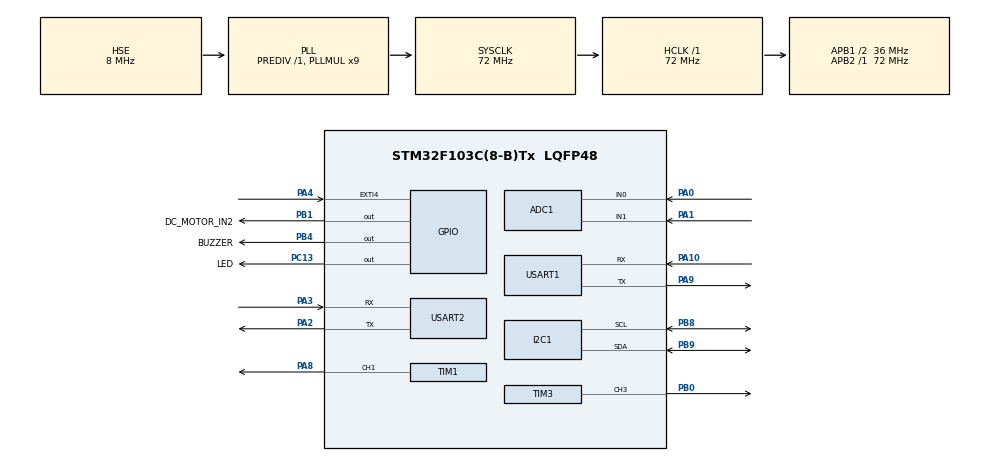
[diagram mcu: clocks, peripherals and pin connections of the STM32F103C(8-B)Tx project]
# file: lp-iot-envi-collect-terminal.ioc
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ADC1.Channel-1\#ChannelRegularConversion=ADC_CHANNEL_0
ADC1.Channel-2\#ChannelRegularConversion=ADC_CHANNEL_1
ADC1.ContinuousConvMode=ENABLE
ADC1.EnableAnalogWatchDog=false
ADC1.EnableInjectedConversion=ENABLE
ADC1.InjNumberOfConversion=0
ADC1.NbrOfConversion=2
ADC1.NbrOfConversionFlag=1
ADC1.Rank-1\#ChannelRegularConversion=1
ADC1.Rank-2\#ChannelRegularConversion=2
ADC1.SamplingTime-1\#ChannelRegularConversion=ADC_SAMPLETIME_239CYCLES_5
ADC1.SamplingTime-2\#ChannelRegularConversion=ADC_SAMPLETIME_239CYCLES_5
ADC1.master=1
Dma.ADC1.0.Direction=DMA_PERIPH_TO_MEMORY
Dma.ADC1.0.Instance=DMA1_Channel1
Dma.ADC1.0.MemDataAlignment=DMA_MDATAALIGN_HALFWORD
Dma.ADC1.0.MemInc=DMA_MINC_ENABLE
Dma.ADC1.0.Mode=DMA_CIRCULAR
Dma.ADC1.0.PeriphDataAlignment=DMA_PDATAALIGN_HALFWORD
Dma.ADC1.0.PeriphInc=DMA_PINC_DISABLE
Dma.ADC1.0.Priority=DMA_PRIORITY_LOW
Dma.Request0=ADC1
Dma.Request1=USART2_RX
Dma.USART2_RX.1.Direction=DMA_PERIPH_TO_MEMORY
Dma.USART2_RX.1.Instance=DMA1_Channel6
Dma.USART2_RX.1.MemDataAlignment=DMA_MDATAALIGN_BYTE
Dma.USART2_RX.1.MemInc=DMA_MINC_ENABLE
Dma.USART2_RX.1.Mode=DMA_CIRCULAR
Dma.USART2_RX.1.PeriphDataAlignment=DMA_PDATAALIGN_BYTE
Dma.USART2_RX.1.PeriphInc=DMA_PINC_DISABLE
Dma.USART2_RX.1.Priority=DMA_PRIORITY_LOW
FREERTOS.Tasks01=defaultTask,24,128,StartDefaultTask,Default,NULL,Dynamic,NULL,NULL
FREERTOS.configTOTAL_HEAP_SIZE=10240
Mcu.Family=STM32F1
Mcu.Name=STM32F103C(8-B)Tx
Mcu.Package=LQFP48
NVIC.DMA1_Channel1_IRQn=true\:5\:0\:false\:false\:true\:true\:false\:true\:true
NVIC.DMA1_Channel6_IRQn=true\:5\:0\:false\:false\:true\:true\:false\:true\:true
NVIC.EXTI4_IRQn=true\:5\:0\:false\:false\:true\:true\:true\:true\:true
NVIC.PriorityGroup=NVIC_PRIORITYGROUP_4
NVIC.TIM2_IRQn=true\:15\:0\:false\:false\:true\:false\:false\:true\:true
NVIC.TimeBase=TIM2_IRQn
NVIC.TimeBaseIP=TIM2
NVIC.USART1_IRQn=true\:5\:0\:false\:false\:true\:true\:true\:true\:true
NVIC.USART2_IRQn=true\:5\:0\:false\:false\:true\:true\:true\:true\:true
PA0-WKUP.Signal=ADCx_IN0
PA1.Signal=ADCx_IN1
PA10.GPIO_PuPd=GPIO_PULLUP
PA10.Mode=Asynchronous
PA10.Signal=USART1_RX
PA13.Mode=Serial_Wire
PA13.Signal=SYS_JTMS-SWDIO
PA14.Mode=Serial_Wire
PA14.Signal=SYS_JTCK-SWCLK
PA2.Mode=Asynchronous
PA2.Signal=USART2_TX
PA3.Mode=Asynchronous
PA3.Signal=USART2_RX
PA4.GPIO_ModeDefaultEXTI=GPIO_MODE_IT_FALLING
PA4.GPIO_PuPd=GPIO_PULLUP
PA4.Signal=GPXTI4
PA8.Signal=S_TIM1_CH1
PA9.GPIO_Mode=GPIO_MODE_AF_PP
PA9.GPIO_Speed=GPIO_SPEED_FREQ_HIGH
PA9.Mode=Asynchronous
PA9.Signal=USART1_TX
PB0.Signal=S_TIM3_CH3
PB1.GPIO_Label=DC_MOTOR_IN2
PB1.GPIO_Speed=GPIO_SPEED_FREQ_HIGH
PB1.PinState=GPIO_PIN_SET
PB1.Signal=GPIO_Output
PB4.GPIO_Label=BUZZER
PB4.GPIO_PuPd=GPIO_PULLDOWN
PB4.Signal=GPIO_Output
PB8.Mode=I2C
PB8.Signal=I2C1_SCL
PB9.Mode=I2C
PB9.Signal=I2C1_SDA
PC13-TAMPER-RTC.GPIO_Label=LED
PC13-TAMPER-RTC.GPIO_PuPd=GPIO_PULLUP
PC13-TAMPER-RTC.Signal=GPIO_Output
PD0-OSC_IN.Mode=HSE-External-Oscillator
PD0-OSC_IN.Signal=RCC_OSC_IN
PD1-OSC_OUT.Mode=HSE-External-Oscillator
PD1-OSC_OUT.Signal=RCC_OSC_OUT
ProjectManager.HeapSize=0x200
ProjectManager.StackSize=0x400
ProjectManager.TargetToolchain=MDK-ARM V5.32
RCC.ADCPresc=RCC_ADCPCLK2_DIV6
RCC.AHBFreq_Value=72000000
RCC.APB1CLKDivider=RCC_HCLK_DIV2
RCC.APB1Freq_Value=36000000
RCC.APB1TimFreq_Value=72000000
RCC.APB2Freq_Value=72000000
RCC.APB2TimFreq_Value=72000000
RCC.HCLKFreq_Value=72000000
RCC.PLLMUL=RCC_PLL_MUL9
RCC.PLLSourceVirtual=RCC_PLLSOURCE_HSE
RCC.SYSCLKFreq_VALUE=72000000
RCC.SYSCLKSource=RCC_SYSCLKSOURCE_PLLCLK
RCC.USBFreq_Value=72000000
SH.ADCx_IN0.0=ADC1_IN0,IN0
SH.ADCx_IN1.0=ADC1_IN1,IN1
SH.S_TIM1_CH1.0=TIM1_CH1,PWM Generation1 CH1
SH.S_TIM3_CH3.0=TIM3_CH3,PWM Generation3 CH3
TIM1.AutoReloadPreload=TIM_AUTORELOAD_PRELOAD_ENABLE
TIM1.Channel-PWM\ Generation1\ CH1=TIM_CHANNEL_1
TIM1.Period=20000-1
TIM1.Prescaler=144-1
TIM3.Channel-PWM\ Generation3\ CH3=TIM_CHANNEL_3
TIM3.Period=20000-1
TIM3.Prescaler=144-1
USART1.VirtualMode=VM_ASYNC
USART2.VirtualMode=VM_ASYNC
VP_FREERTOS_VS_CMSIS_V2.Mode=CMSIS_V2
VP_SYS_VS_tim2.Mode=TIM2
VP_TIM1_VS_ClockSourceINT.Mode=Internal
VP_TIM3_VS_ClockSourceINT.Mode=Internal
board=custom

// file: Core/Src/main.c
/* USER CODE BEGIN Header */
/**
  ******************************************************************************
  * @file           : main.c
  * @brief          : Main program body
  ******************************************************************************
  * @attention
  *
  * Copyright (c) 2026 STMicroelectronics.
  * All rights reserved.
  *
  * This software is licensed under terms that can be found in the LICENSE file
  * in the root directory of this software component.
  * If no LICENSE file comes with this software, it is provided AS-IS.
  *
  ******************************************************************************
  */
/* USER CODE END Header */
#include "main.h"
#include "cmsis_os.h"
#include "adc.h"
#include "dma.h"
#include "i2c.h"
#include "tim.h"
#include "usart.h"
#include "gpio.h"

/* USER CODE BEGIN Includes */

#include <stdio.h>
#include <string.h>
#include <stdlib.h>
#include <stdbool.h>
#include "filter.h"
#include "sensor.h"
#include "OLED.h"
#include "servo.h"
#include "motor.h"
#include "buzzer.h"
#include "control.h"  // 提供 atoi
#include "bsp_key.h"
#include "mqtt_port.h"

#include "FreeRTOS.h"
#include "task.h"
#include <stdio.h>

/* USER CODE END Includes */

/* USER CODE BEGIN PV */

volatile uint8_t key_pressed = 0;
volatile uint16_t adc_dma_buf[2];

// 串口中断接收相关
#define RX_BUF_SIZE 64
uint8_t rx_buf[RX_BUF_SIZE];
uint8_t rx_index = 0;
volatile uint8_t rx_cmd_ready = 0;   // 收到完整一行命�?

typedef struct {
    float temperature_c;
    float light_percent;
    uint16_t light_lx;
    SensorStatus temp_status;
    SensorStatus light_status;
    bool alarm_active;
    uint8_t alarm_count;
} sensor_data_t;

sensor_data_t sensor_data;
osMutexId_t sensor_data_mutex;
osSemaphoreId_t display_sem;
osSemaphoreId_t data_sem;
osMutexId_t printf_mutex;

/* USER CODE END PV */

void SystemClock_Config(void);
void MX_FREERTOS_Init(void);
/* USER CODE BEGIN PFP */

int fputc(int ch, FILE *f)
{
    HAL_UART_Transmit(&huart1, (uint8_t *)&ch, 1, 10);
    return ch;
}

/*void ProcessCommand(uint8_t *cmd)
{
    if (strncmp((char *)cmd, "servo ", 6) == 0) {
        int angle = atoi((char *)cmd + 6);
        if (angle >= 0 && angle <= 180) {
            Servo_SetAngle((uint8_t)angle);
            printf("Servo set to %d\r\n", angle);
        }
    } else if (strcmp((char *)cmd, "motor fwd") == 0) {
        Motor_SetState(MOTOR_FORWARD);
        printf("Motor forward\r\n");
    } else if (strcmp((char *)cmd, "motor stop") == 0) {
        Motor_SetState(MOTOR_STOP);
        printf("Motor stop\r\n");
    } else if (strcmp((char *)cmd, "motor rev") == 0) {
        Motor_SetState(MOTOR_REVERSE);
        printf("Motor reverse\r\n");
    } else if (strcmp((char *)cmd, "buzzer on") == 0) {
        Buzzer_On();
        printf("Buzzer on\r\n");
    } else if (strcmp((char *)cmd, "buzzer off") == 0) {
        Buzzer_Off();
        printf("Buzzer off\r\n");
    } else if (strcmp((char *)cmd, "buzzer beep") == 0) {
        Buzzer_Beep(200);
        printf("Buzzer beep\r\n");
    } else {
        printf("Unknown cmd: %s\r\n", cmd);
    }
}*/

void HAL_UART_RxCpltCallback(UART_HandleTypeDef *huart)
{
    if (huart == &huart1) {
        if (rx_buf[rx_index] == '\r' || rx_buf[rx_index] == '\n') {
            rx_buf[rx_index] = '\0';          // 终止字符�?
            if (rx_index > 0) {
                rx_cmd_ready = 1;             // 通知主循环处�?
            }
            rx_index = 0;
        } else {
            rx_index++;
            if (rx_index >= RX_BUF_SIZE - 1) {
                rx_index = 0;                 // 溢出保护
            }
        }
        HAL_UART_Receive_IT(&huart1, &rx_buf[rx_index], 1); // 重新启动接收下一个字�?
    }
}

void vTask_Acquisition(void *argument);
void vTask_Control(void *argument);
void vTask_Cloud(void *argument);
void vTask_Display(void *argument);

/* USER CODE END PFP */

int main(void)
{

  /* MCU Configuration--------------------------------------------------------*/

  /* Reset of all peripherals, Initializes the Flash interface and the Systick. */
  HAL_Init();

  /* Configure the system clock */
  SystemClock_Config();

  /* Initialize all configured peripherals */
  MX_GPIO_Init();
  MX_DMA_Init();
  MX_I2C1_Init();
  MX_ADC1_Init();
  MX_TIM1_Init();
  MX_USART2_UART_Init();
  MX_USART1_UART_Init();
  MX_TIM3_Init();
  /* USER CODE BEGIN 2 */

  BSP_Key_Init();

 // 启动DMA循环采集
	Sensor_Init(); // 模块内部完成：滤波初始化 + HAL_ADC_Start_DMA

	printf("System Start! ADC DMA running...\r\n");

	OLED_Init();          // 初始�?OLED
	OLED_Clear();
	OLED_ShowString(0, 0, "RTOS Tasks");  // 标题
	HAL_Delay(1000);
	OLED_Clear();
	Control_Init();      // 初始化舵机、电机、蜂鸣器

     // 启动串口中断接收
   // HAL_UART_Receive_IT(&huart1, &rx_buf[0], 1);
	printf("FreeRTOS Task framework started.\r\n");

osKernelInitialize();  /* Call init function for freertos objects (in cmsis_os2.c) */

// 同步对象创建

sensor_data_mutex = osMutexNew(NULL);
display_sem = osSemaphoreNew(1, 0, NULL);   // 初始计数 0，显示任务等待第一次采�?
data_sem = display_sem;
printf_mutex = osMutexNew(NULL);

// 创建四个核心任务

osThreadAttr_t attr;

// 控制任务 (最高优先级)
attr.name = "Control";
attr.attr_bits = 0;
attr.cb_mem = NULL;
attr.cb_size = 0;
attr.stack_mem = NULL;
attr.stack_size = 512;
attr.priority = osPriorityAboveNormal;
osThreadId_t ctrl_id = osThreadNew(vTask_Control, NULL, &attr);
if (ctrl_id == NULL) {
    printf("Failed to create Control task!\r\n");
}

// 采集任务 (Normal)
attr.name = "Acquisition";
attr.priority = osPriorityNormal;
attr.stack_size = 512;
osThreadNew(vTask_Acquisition, NULL, &attr);

// 云通信任务 (Normal)
attr.name = "Cloud";
attr.stack_size = 1536;   // 后续 MQTT 需要较大栈
attr.priority = osPriorityAboveNormal;
osThreadNew(vTask_Cloud, NULL, &attr);

// 显示任务 (最低优先级)
attr.name = "Display";
attr.stack_size = 512;
attr.priority = osPriorityLow;
osThreadNew(vTask_Display, NULL, &attr);

 MX_FREERTOS_Init();

  /* USER CODE END 2 */

  /* Init scheduler */
  osKernelInitialize();  /* Call init function for freertos objects (in cmsis_os2.c) */
  MX_FREERTOS_Init();

  /* Start scheduler */
  osKernelStart();

  /* We should never get here as control is now taken by the scheduler */

  /* Infinite loop */
  /* USER CODE BEGIN WHILE */

 // 裸机循环已被 FreeRTOS 替代，保留空循环防止 main 退出（其实不会执行到这里）
  while (1)
  {
	/*SensorStatus ts, ls;
        float temp = Sensor_ReadTemperature(&ts);
        float light = Sensor_ReadLightPercent(&ls);

        if (ts == SENSOR_OK && ls == SENSOR_OK)
		{
            OLED_Display_Env(temp, light);
            Control_Execute(temp, light);
            printf("Temp:%.1f C Light:%.1f %%\r\n", temp, light);
        }
		else
		{
            OLED_ShowString(0, 1, "Sensor Error");
        }

        // 处理串口命令
      if (rx_cmd_ready)
		{
            rx_cmd_ready = 0;
            ProcessCommand(rx_buf);
        }
		if (BSP_Key_IsPressed())
{
    printf("Key pressed!\r\n");
}
        // 这里可以添加模式切换或唤醒操�?
		HAL_Delay(200);   // 5Hz 循环

  }    */

    /* USER CODE END WHILE */

  }
}

void SystemClock_Config(void)
{
  RCC_OscInitTypeDef RCC_OscInitStruct = {0};
  RCC_ClkInitTypeDef RCC_ClkInitStruct = {0};
  RCC_PeriphCLKInitTypeDef PeriphClkInit = {0};

  /** Initializes the RCC Oscillators according to the specified parameters
  * in the RCC_OscInitTypeDef structure.
  */
  RCC_OscInitStruct.OscillatorType = RCC_OSCILLATORTYPE_HSE;
  RCC_OscInitStruct.HSEState = RCC_HSE_ON;
  RCC_OscInitStruct.HSEPredivValue = RCC_HSE_PREDIV_DIV1;
  RCC_OscInitStruct.HSIState = RCC_HSI_ON;
  RCC_OscInitStruct.PLL.PLLState = RCC_PLL_ON;
  RCC_OscInitStruct.PLL.PLLSource = RCC_PLLSOURCE_HSE;
  RCC_OscInitStruct.PLL.PLLMUL = RCC_PLL_MUL9;
  if (HAL_RCC_OscConfig(&RCC_OscInitStruct) != HAL_OK)
  {
    Error_Handler();
  }

  /** Initializes the CPU, AHB and APB buses clocks
  */
  RCC_ClkInitStruct.ClockType = RCC_CLOCKTYPE_HCLK|RCC_CLOCKTYPE_SYSCLK
                              |RCC_CLOCKTYPE_PCLK1|RCC_CLOCKTYPE_PCLK2;
  RCC_ClkInitStruct.SYSCLKSource = RCC_SYSCLKSOURCE_PLLCLK;
  RCC_ClkInitStruct.AHBCLKDivider = RCC_SYSCLK_DIV1;
  RCC_ClkInitStruct.APB1CLKDivider = RCC_HCLK_DIV2;
  RCC_ClkInitStruct.APB2CLKDivider = RCC_HCLK_DIV1;

  if (HAL_RCC_ClockConfig(&RCC_ClkInitStruct, FLASH_LATENCY_2) != HAL_OK)
  {
    Error_Handler();
  }
  PeriphClkInit.PeriphClockSelection = RCC_PERIPHCLK_ADC;
  PeriphClkInit.AdcClockSelection = RCC_ADCPCLK2_DIV6;
  if (HAL_RCCEx_PeriphCLKConfig(&PeriphClkInit) != HAL_OK)
  {
    Error_Handler();
  }
}

/* USER CODE BEGIN 4 */
void HAL_GPIO_EXTI_Callback(uint16_t GPIO_Pin)
{
    if (GPIO_Pin != GPIO_PIN_4)
    {
        return;
    }

    /* Software debounce: ignore bounces within 50ms of the last accepted press. */
    static uint32_t last_press_tick = 0U;
    uint32_t now = HAL_GetTick();
    if ((now - last_press_tick) < 50U)
    {
        return;
    }
    last_press_tick = now;

    /* Speed stepping is only valid while the motor is running. */
    if (motor_duty == 0U)
    {
        return;
    }

    /* Cycle: 25% -> 50% -> 75% -> 100% -> 25%. */
    switch (motor_duty)
    {
        case 25U:  motor_duty = 50U;  break;
        case 50U:  motor_duty = 75U;  break;
        case 75U:  motor_duty = 100U; break;
        case 100U: motor_duty = 25U;  break;
        default:   motor_duty = 25U;  break;
    }

    Motor_SetSpeed(motor_duty);
    printf("[KEY] Motor duty -> %u%%\r\n", motor_duty);
}

void vTask_Acquisition(void *argument)
{
    (void)argument;

    // 前期等待传感器稳�?
    osDelay(100);

    for(;;)
    {
        // �?DMA 缓冲区连�?3 次为 0，则强制重启 DMA
        static uint8_t zero_cnt = 0;
        if (adc_dma_buf[0] == 0 && adc_dma_buf[1] == 0) {
            zero_cnt++;
            if (zero_cnt >= 3) {
                // 重新初始�?DMA
                HAL_ADC_Stop_DMA(&hadc1);
                HAL_ADC_Start_DMA(&hadc1, (uint32_t*)adc_dma_buf, 2);
                zero_cnt = 0;
            }
        } else {
            zero_cnt = 0;
        }

        SensorStatus ts, ls;
        float temp = Sensor_ReadTemperature(&ts);
        float light_percent = Sensor_ReadLightPercent(&ls);
        float light_lx_value = Sensor_ReadLightLux(&ls);
        uint16_t light_lx = (uint16_t)light_lx_value;

        // 采集结果写入全局结构体并用信号量通知显示任务
        osMutexAcquire(sensor_data_mutex, osWaitForever);
        sensor_data.temperature_c = temp;
        sensor_data.light_percent = light_percent;
        sensor_data.light_lx = light_lx;
        sensor_data.temp_status = ts;
        sensor_data.light_status = ls;
        sensor_data.alarm_count = 0;
        osMutexRelease(sensor_data_mutex);

        osSemaphoreRelease(display_sem);

        // 500ms 一次把采集结果按要求打印成单行格式
        osMutexAcquire(printf_mutex, osWaitForever);
        printf("Temp: ADC=%u, %.1f C  |  Light: ADC=%u, %.1f %%\r\n",
               adc_dma_buf[0],
               temp,
               adc_dma_buf[1],
               light_percent);
        osMutexRelease(printf_mutex);

        osDelay(200);
    }
}

void vTask_Control(void *argument)
{
    (void)argument;

    for(;;) {
        float temp;
        float light_percent;

        osMutexAcquire(sensor_data_mutex, osWaitForever);
        temp = sensor_data.temperature_c;
        light_percent = sensor_data.light_percent;
        osMutexRelease(sensor_data_mutex);

        if (BSP_Key_IsPressed()) {
            printf("Key pressed!\r\n");
            key_pressed = 0;

            /* First press: force alarm latch active.
               Second press in the same state toggles it back to idle.
               The manual latch is visible to the control task and uses the
               requested actuator semantics: buzzer ON, motor FORWARD, servo 0°;
               the release path shuts all three off and returns servo to mid. */
            static bool manual_alarm = false;
            manual_alarm = !manual_alarm;
            Control_ManualOverride(manual_alarm);
        }

        Control_Execute(temp, light_percent);

        bool manual_alarm_active = Control_IsManualAlarmActive();
        bool threshold_alarm = ((temp > TEMP_THRESHOLD) || (light_percent > LIGHT_THRESHOLD));
        bool combined_alarm = manual_alarm_active || threshold_alarm;

        osMutexAcquire(sensor_data_mutex, osWaitForever);
        sensor_data.alarm_active = combined_alarm;
        sensor_data.alarm_count = (uint8_t)(combined_alarm ? 2 : 0);
        osMutexRelease(sensor_data_mutex);

        osDelay(200);
    }
}

void vTask_Cloud(void *argument)
{
    TickType_t last_pub;
    float      temp;
    uint16_t   light;
    uint8_t    alarm;
    int        rc;
    uint8_t    sub_retry = 0U;   /* subscribe retry counter */

    (void)argument;

    /* ESP-01S USART2 DMA + IDLE + semaphore init, paho MQTT client init */
    mqtt_init();
    last_pub = xTaskGetTickCount();

    /* cloud task state machine:
       WIFI_READY -> TCP_READY -> MQTT_READY -> SUBSCRIBED (then publish allowed) */
    for (;;)
    {
        /* ---- state < MQTT_READY: full connect (WiFi -> TCP transparent -> CONNACK),
               failure triggers reconnect, module reset only if AT totally dead ---- */
        if (mqtt_get_state() < MQTT_STATE_MQTT_READY)
        {
            rc = mqtt_connect();
            if (rc == 0)
            {
                printf("[MQTT] connected to %s:%u\r\n", MQTT_BROKER_HOST, (unsigned int)MQTT_BROKER_PORT);
                /* subscribe only after MQTT handshake done; success -> SUBSCRIBED */
                rc = mqtt_subscribe_cmd_topic();
                if (rc != 0)
                {
                    sub_retry++;
                    printf("[MQTT] subscribe retry %u rc=%d (%s)\r\n", (unsigned int)sub_retry, rc, mqtt_err_str(rc));
                    mqtt_disconnect();
                    osDelay(3000);
                    continue;
                }
                sub_retry = 0U;
            }
            else
            {
                printf("[MQTT] connect failed rc=%d (%s), retry in 3s...\r\n", rc, mqtt_err_str(rc));
                osDelay(3000);
                continue;
            }
        }

        /* ---- continuous MQTTYield in while(1): receives late CONNACK/SUBACK/downlink
               PUBLISH and sends keepalive PINGREQ; must NOT be called only once ---- */
        rc = mqtt_yield(20);
        if (rc != 0)
        {
            printf("[MQTT] yield/link lost rc=%d (%s), reconnecting...\r\n", rc, mqtt_err_str(rc));
            mqtt_disconnect();
            continue;
        }

        /* ---- publish telemetry every 2000ms only in SUBSCRIBED state ---- */
        if (mqtt_get_state() >= MQTT_STATE_SUBSCRIBED)
        {
            if ((TickType_t)(xTaskGetTickCount() - last_pub) >= pdMS_TO_TICKS(2000))
            {
                last_pub = xTaskGetTickCount();

                osMutexAcquire(sensor_data_mutex, osWaitForever);
                temp  = sensor_data.temperature_c;
                light = (uint16_t)(((uint32_t)adc_dma_buf[1] * 100U) / 4095U);  /* ADC raw -> 0~100% */
                alarm = sensor_data.alarm_active ? 1U : 0U;
                osMutexRelease(sensor_data_mutex);

                rc = mqtt_publish_telemetry(temp, light, alarm);
                if (rc != 0)
                {
                    printf("[MQTT] publish failed rc=%d (%s), reconnecting...\r\n", rc, mqtt_err_str(rc));
                    mqtt_disconnect();
                    continue;
                }
            }
        }

        osDelay(20);
    }
}

void vTask_Display(void *argument)
{
    (void)argument;

    for(;;) {
        osSemaphoreAcquire(display_sem, osWaitForever);

        float temp;
        float light_percent;
        bool alarm;
        SensorStatus temp_status;
        SensorStatus light_status;

        osMutexAcquire(sensor_data_mutex, osWaitForever);
        temp = sensor_data.temperature_c;
        light_percent = sensor_data.light_percent;
        alarm = sensor_data.alarm_active;
        temp_status = sensor_data.temp_status;
        light_status = sensor_data.light_status;
        osMutexRelease(sensor_data_mutex);

        char line1[16];
        char line2[16];
        char line3[16];

        if (temp_status == SENSOR_OK && light_status == SENSOR_OK) {
            snprintf(line1, sizeof(line1), "Temp:%.1f C", temp);
            snprintf(line2, sizeof(line2), "Light:%.1f %%", light_percent);
            snprintf(line3, sizeof(line3), "%s", alarm ? "Alarm" : "Normal");
        } else {
            snprintf(line1, sizeof(line1), "Temp:Error");
            snprintf(line2, sizeof(line2), "Light:Error");
            snprintf(line3, sizeof(line3), "Sensor Error");
        }

        /* Keep the OLED memory stable and refresh only the text rows.
           Avoid calling OLED_Clear() here, otherwise the panel blinks. */
        OLED_ShowString(0, 0, line1);
        OLED_ShowString(0, 1, line2);
        OLED_ShowString(0, 2, line3);

        osDelay(500);
    }
}

/* USER CODE END 4 */

void HAL_TIM_PeriodElapsedCallback(TIM_HandleTypeDef *htim)
{
  if (htim->Instance == TIM2)
  {
    HAL_IncTick();
  }
}

void Error_Handler(void)
{
  __disable_irq();
  while (1)
  {
  }
}
